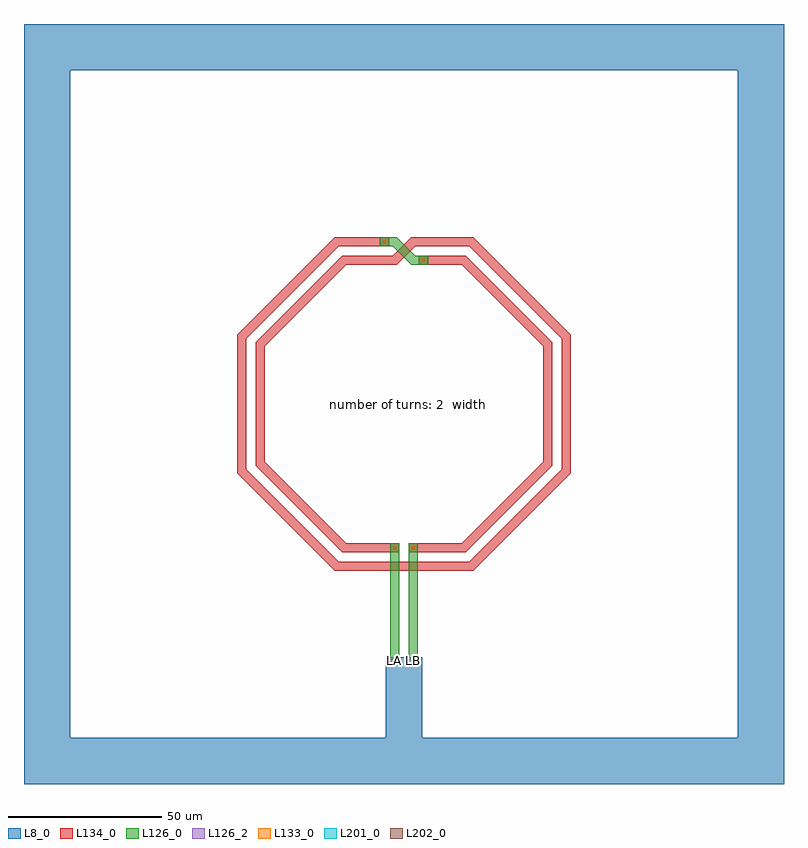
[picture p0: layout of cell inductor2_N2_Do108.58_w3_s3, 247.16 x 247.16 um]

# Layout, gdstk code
import gdstk
lib = gdstk.Library(unit=1e-6, precision=1e-09)
def R(c, l, rs):  # rectangles x0, y0, x1, y1
    for r in rs: c.add(gdstk.rectangle(r[:2], r[2:], *l))
def P(c, l, *ps):  # polygons
    for p in ps: c.add(gdstk.Polygon(p, *l))
L8_0 = (8, 0)
L126_0 = (126, 0)
L126_2 = (126, 2)
L133_0 = (133, 0)
L134_0 = (134, 0)
L201_0 = (201, 0)
L202_0 = (202, 0)

inductor2_n2_do108_58_w3 = lib.new_cell('inductor2_N2_Do108.58_w3_s3')
R(inductor2_n2_do108_58_w3, L8_0, [(-123.58,-123.58,-108.58,123.58), (-108.58,-123.58,108.58,-108.58), (108.58,-123.58,123.58,123.58), (-6,-108.58,6,-82.29), (-108.58,108.58,108.58,123.58)])
R(inductor2_n2_do108_58_w3, L126_0, [(-4.5,-84.29,-1.5,-45.29), (1.5,-84.29,4.5,-45.29)])
P(inductor2_n2_do108_58_w3, L126_0, [(-7.86,54.29),(-7.86,51.29),(-3.621,51.29),(2.379,45.29),(7.86,45.29),(7.86,48.29),(3.621,48.29),(-2.379,54.29)])
R(inductor2_n2_do108_58_w3, L126_2, [(-4.5,-84.29,-1.5,-82.79), (1.5,-84.29,4.5,-82.79)])
R(inductor2_n2_do108_58_w3, L133_0, [(-3.45,-47.24,-2.55,-46.34), (2.55,-47.24,3.45,-46.34), (5.92,46.34,6.82,47.24), (-6.82,52.34,-5.92,53.24)])
R(inductor2_n2_do108_58_w3, L134_0, [(-7.865,-54.29,7.865,-51.29)])
P(inductor2_n2_do108_58_w3, L134_0, [(-4.86,-54.29),(-4.86,-51.29),(-21.249,-51.29),(-51.29,-21.249),(-51.29,3),(-54.29,3),(-54.29,-22.491),(-22.491,-54.29)],
  [(-4.86,51.29),(-4.86,54.29),(-22.491,54.29),(-54.29,22.491),(-54.29,-3),(-51.29,-3),(-51.29,21.249),(-21.249,51.29)],
  [(4.86,-51.29),(4.86,-54.29),(22.491,-54.29),(54.29,-22.491),(54.29,3),(51.29,3),(51.29,-21.249),(21.249,-51.29)],
  [(4.86,54.29),(4.86,51.29),(21.249,51.29),(51.29,21.249),(51.29,-3),(54.29,-3),(54.29,22.491),(22.491,54.29)],
  [(-1.5,-48.29),(-1.5,-45.29),(-18.759,-45.29),(-45.29,-18.759),(-45.29,3),(-48.29,3),(-48.29,-20.001),(-20.001,-48.29)],
  [(-4.86,45.29),(-4.86,48.29),(-20.001,48.29),(-48.29,20.001),(-48.29,-3),(-45.29,-3),(-45.29,18.759),(-18.759,45.29)],
  [(1.5,-45.29),(1.5,-48.29),(20.001,-48.29),(48.29,-20.001),(48.29,3),(45.29,3),(45.29,-18.759),(18.759,-45.29)],
  [(4.86,48.29),(4.86,45.29),(18.759,45.29),(45.29,18.759),(45.29,-3),(48.29,-3),(48.29,20.001),(20.001,48.29)],
  [(-7.86,48.29),(-7.86,45.29),(-2.379,45.29),(3.621,51.29),(7.86,51.29),(7.86,54.29),(2.379,54.29),(-3.621,48.29)])
R(inductor2_n2_do108_58_w3, L201_0, [(-4.5,-84.29,-1.5,-84.19)])
R(inductor2_n2_do108_58_w3, L202_0, [(1.5,-84.29,4.5,-84.19)])
inductor2_n2_do108_58_w3.add(gdstk.Label('LA', (-3,-83.54), layer=27, texttype=25))
inductor2_n2_do108_58_w3.add(gdstk.Label('LB', (3,-83.54), layer=27, texttype=25))
inductor2_n2_do108_58_w3.add(gdstk.Label('  number of turns: 2\n  width: 3.00\n  spacing: 3.00\n  outer diameter: 108.58\n  inner diameter: 90.58\n', (0,0), layer=63, texttype=0))

lib.write_gds('inductor2_N2_Do108.58_w3_s3.gds')
